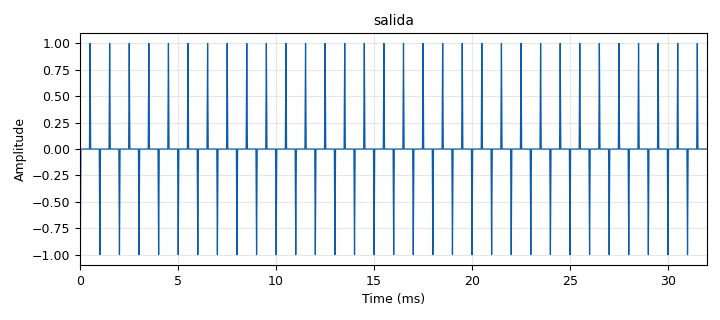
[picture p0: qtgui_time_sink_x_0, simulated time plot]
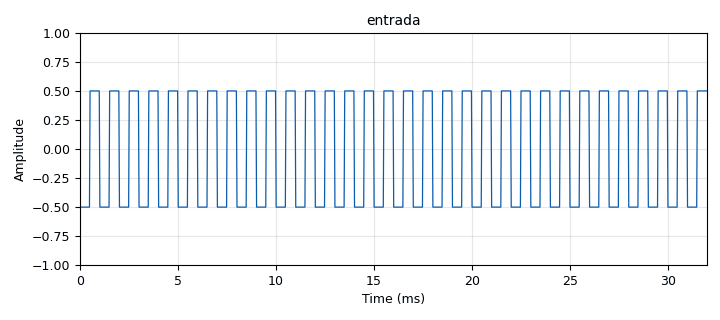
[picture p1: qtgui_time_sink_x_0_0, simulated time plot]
options:
  parameters:
    generate_options: qt_gui
    id: acumulador
    output_language: python
    title: Not titled yet
  states: {}

blocks:
- name: samp_rate
  id: variable
  parameters:
    value: '32000'
  states: {}
- name: analog_sig_source_x_0
  id: analog_sig_source_x
  parameters:
    amp: '1'
    freq: '1000'
    offset: '-0.5'
    phase: '0'
    samp_rate: samp_rate
    type: float
    waveform: analog.GR_SQR_WAVE
  states: {}
- name: blocks_vector_source_x_0
  id: blocks_vector_source_x
  parameters:
    repeat: 'True'
    type: complex
    vector: (0, 0, 0)
  states: {state: disabled}
- name: epy_block_0
  id: epy_block
  parameters:
    _source_code: "#!/usr/bin/env python\n# -*- coding: utf-8 -*-\n\n#\n\nfrom gnuradio import gr\nimport numpy as np\n\nclass blk (gr. sync_block ):\n    def __init__(self):\n        gr.sync_block.__init__(self,\n            name=\"Diferenciador\",\n            in_sig=[np.float32],\n            out_sig=[np.float32])\n        \n        self.acum_anterior = 0.0\n    def work(self, input_items, output_items):\n        x = input_items[0]#señal de entrada\n        y = output_items[0]#señal acumulada diferencial\n        \n        \n        for i in range(len(x)):\n            dif = x[i]\n            y[i] = dif - self.acum_anterior\n            self.acum_anterior  = dif\n\n        return len(y)\n        \n        \n        \n\n"
  states: {}
- name: qtgui_time_sink_x_0
  id: qtgui_time_sink_x
  parameters:
    autoscale: 'True'
    grid: 'True'
    name: salida
    size: '1024'
    srate: samp_rate
    type: float
  states: {}
- name: qtgui_time_sink_x_0_0
  id: qtgui_time_sink_x
  parameters:
    name: entrada
    size: '1024'
    srate: samp_rate
    type: float
  states: {}

connections:
- [analog_sig_source_x_0, '0', epy_block_0, '0']
- [analog_sig_source_x_0, '0', qtgui_time_sink_x_0_0, '0']
- [epy_block_0, '0', qtgui_time_sink_x_0, '0']

metadata:
  file_format: 1
  grc_version: v3.10.11.0-89-ga17f69e7
